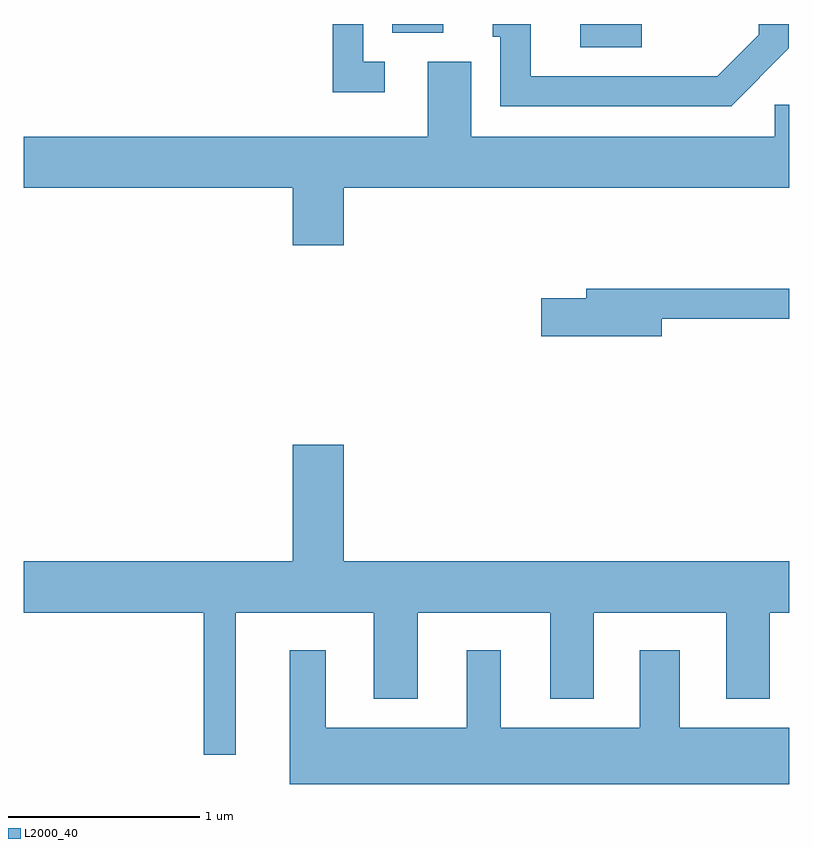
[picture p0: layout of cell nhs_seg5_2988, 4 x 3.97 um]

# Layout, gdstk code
import gdstk
lib = gdstk.Library(unit=1e-6, precision=1e-09)
def R(c, l, rs):  # rectangles x0, y0, x1, y1
    for r in rs: c.add(gdstk.rectangle(r[:2], r[2:], *l))
def P(c, l, *ps):  # polygons
    for p in ps: c.add(gdstk.Polygon(p, *l))
L2000_40 = (2000, 40)

nhs_seg5_2988 = lib.new_cell('nhs_seg5_2988')
R(nhs_seg5_2988, L2000_40, [(276.518,1481.951,276.839,1482.072), (275.536,1482.026,275.804,1482.072)])
P(nhs_seg5_2988, L2000_40, [(277.609,1481.944),(277.609,1482.072),(277.451,1482.072),(277.451,1482.017),(277.234,1481.799),(276.259,1481.799),(276.259,1482.072),(276.061,1482.072),(276.061,1482.006),(276.101,1482.006),(276.101,1481.641),(277.307,1481.641)],
  [(275.498,1481.874),(275.384,1481.874),(275.384,1482.072),(275.226,1482.072),(275.226,1481.716),(275.498,1481.716)],
  [(275.284,1481.216),(277.611,1481.216),(277.611,1481.649),(277.536,1481.649),(277.536,1481.484),(275.949,1481.484),(275.949,1481.874),(275.721,1481.874),(275.721,1481.484),(273.611,1481.484),(273.611,1481.216),(275.016,1481.216),(275.016,1480.916),(275.284,1480.916)],
  [(276.944,1480.531),(277.611,1480.531),(277.611,1480.689),(276.551,1480.689),(276.551,1480.639),(276.316,1480.639),(276.316,1480.441),(276.944,1480.441)],
  [(274.719,1478.996),(275.441,1478.996),(275.441,1478.546),(275.669,1478.546),(275.669,1478.996),(276.361,1478.996),(276.361,1478.546),(276.589,1478.546),(276.589,1478.996),(277.281,1478.996),(277.281,1478.546),(277.509,1478.546),(277.509,1478.996),(277.611,1478.996),(277.611,1479.264),(275.284,1479.264),(275.284,1479.874),(275.016,1479.874),(275.016,1479.264),(273.611,1479.264),(273.611,1478.996),(274.551,1478.996),(274.551,1478.253),(274.719,1478.253)],
  [(277.611,1478.394),(277.039,1478.394),(277.039,1478.799),(276.831,1478.799),(276.831,1478.394),(276.104,1478.394),(276.104,1478.799),(275.926,1478.799),(275.926,1478.394),(275.189,1478.394),(275.189,1478.799),(275.001,1478.799),(275.001,1478.101),(277.611,1478.101)])

lib.write_gds('nhs_seg5_2988.gds')
